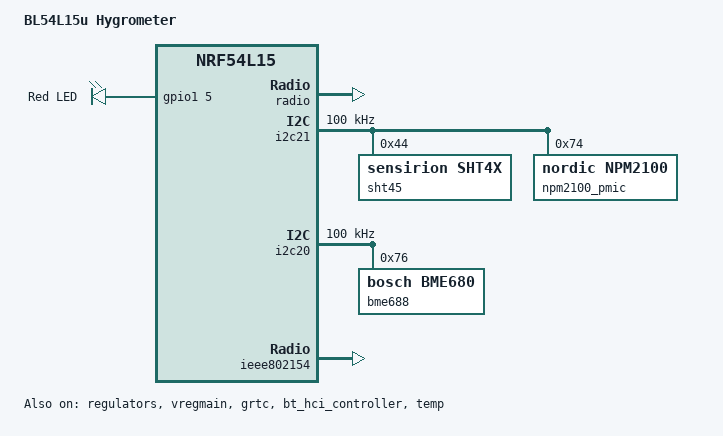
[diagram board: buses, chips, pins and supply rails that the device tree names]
/*
 * SPDX-License-Identifier: Apache-2.0
 *
 * BL54L15u Hygrometer - Custom nRF54L15 humidity sensor board
 *
 * Hardware:
 *   - nRF54L15 SoC (application core)
 *   - SHT45 humidity/temperature sensor on I2C21 (SDA=P1.14, SCL=P1.04)
 *   - BME688 + STCC4 (optional) on I2C20 (SDA=P1.06, SCL=P1.08)
 *   - nPM2100 PMIC on I2C21
 *   - No UART - debug via RTT
 *   - Internal RRAM only (no external flash)
 */

/dts-v1/;

#include <nordic/nrf54l15_cpuapp.dtsi>
#include "bl54l15u_hygrometer-pinctrl.dtsi"
#include <dt-bindings/regulator/npm2100.h>

/ {
	model = "BL54L15u Hygrometer";
	compatible = "soily,bl54l15u-hygrometer";

	chosen {
		zephyr,code-partition = &slot0_partition;
		zephyr,sram = &cpuapp_sram;
		zephyr,flash-controller = &rram_controller;
		zephyr,flash = &cpuapp_rram;
		zephyr,ieee802154 = &ieee802154;
	};

	/* Red LED on P1.05 */
	leds: leds {
		compatible = "gpio-leds";
		red_led: red_led {
			gpios = <&gpio1 5 GPIO_ACTIVE_HIGH>;
			label = "Red LED";
		};
	};

	aliases {
		led0 = &red_led;
		watchdog0 = &wdt31;
	};
};

/* Use full RRAM and SRAM - no FLPR core reservation */
&cpuapp_rram {
	reg = <0x0 DT_SIZE_K(1524)>;
};

&cpuapp_sram {
	status = "okay";
	reg = <0x20000000 DT_SIZE_K(256)>;
	ranges = <0x0 0x20000000 0x40000>;
};

/* No external 32kHz crystal - use internal RC oscillator */
&lfxo {
	status = "disabled";
};

&clock {
	status = "okay";
};

/* BL54L15μ module contains a 32 MHz crystal (±15 ppm at room temperature)
 * but customer MUST set appropriate internal nRF54L15 capacitance from 4 pF to 17 pF in 0.25p increments */
&hfxo {
	load-capacitors = "internal";
	load-capacitance-femtofarad = <15000>;
};

/* Power regulators */
&regulators {
	status = "okay";
};

&vregmain {
	status = "okay";
	regulator-initial-mode = <NRF5X_REG_MODE_DCDC>;
};

/* Clock control */
&clock {
	status = "okay";
};

/* Radio for Thread/BLE */
&radio {
	status = "okay";
};

/* Global Real-Time Counter */
&grtc {
	owned-channels = <0 1 2 3 4 5 6 7 8 9 10 11>;
	child-owned-channels = <3 4 7 8 9 10 11>;
	status = "okay";
};

/* I2C21 for SHT45 humidity/temperature sensor and nPM2100 PMIC */
&i2c21 {
	status = "okay";
	clock-frequency = <I2C_BITRATE_STANDARD>;  /* 100kHz - more reliable without external pull-ups */
	pinctrl-0 = <&i2c21_default>;
	pinctrl-1 = <&i2c21_sleep>;
	pinctrl-names = "default", "sleep";

	sht45: sht4x@44 {
		compatible = "sensirion,sht4x";
		reg = <0x44>;
		repeatability = <2>;
		status = "okay";
	};

	npm2100_pmic: pmic@74 {
		compatible = "nordic,npm2100";
		reg = <0x74>;

		regulators {
			compatible = "nordic,npm2100-regulator";

			npm2100_ldsw: LDOSW {};
		};

		npm2100_wdt: watchdog {
			compatible = "nordic,npm2100-wdt";
		};

		npm2100_vbat: vbat {
			compatible = "nordic,npm2100-vbat";
		};
	};
};

/* I2C20 for optional BME688 pressure sensor and STCC4 CO2 sensor */
&i2c20 {
	status = "okay";
	clock-frequency = <I2C_BITRATE_STANDARD>;
	pinctrl-0 = <&i2c20_default>;
	pinctrl-1 = <&i2c20_sleep>;
	pinctrl-names = "default", "sleep";

	bme688: bme680@76 {
		compatible = "bosch,bme680";
		reg = <0x76>;
		status = "okay";
	};
};

/* IEEE 802.15.4 for Thread/Matter */
&ieee802154 {
	status = "okay";
};

/* Bluetooth */
&bt_hci_controller {
	status = "okay";
};

/* GPIO ports */
&gpio1 {
	status = "okay";
};

/* GPIOTE instances for GPIO interrupts/events */
&gpiote20 {
	status = "okay";
};

&gpiote30 {
	status = "okay";
};

/* Temperature sensor (required for radio temperature compensation) */
&temp {
	status = "okay";
};

/* Include default memory partition configuration */
#include <nordic/nrf54l15_partition.dtsi>
